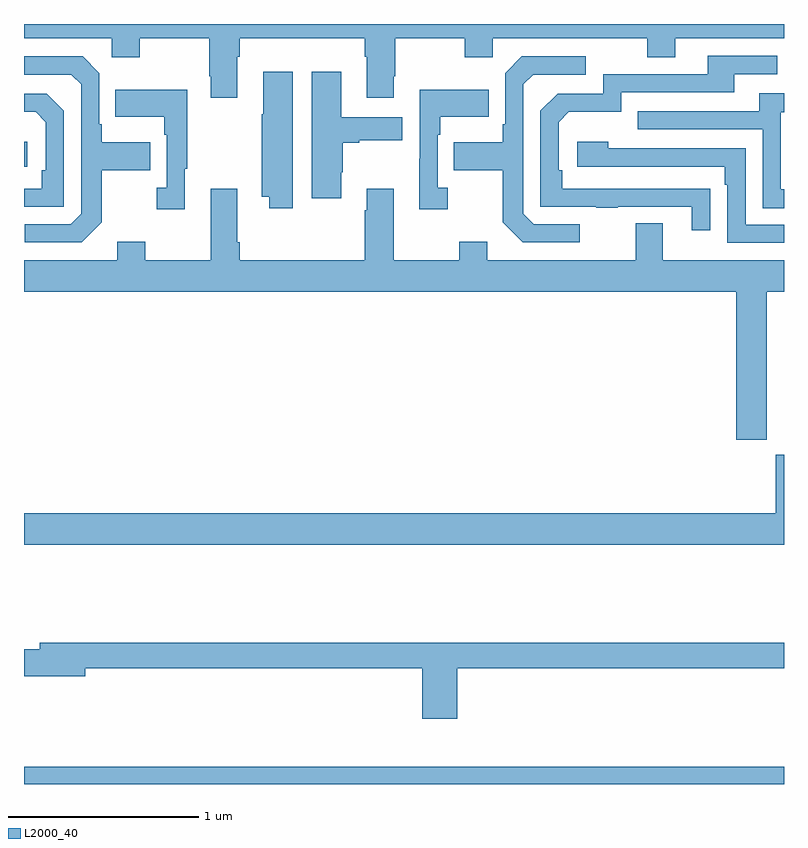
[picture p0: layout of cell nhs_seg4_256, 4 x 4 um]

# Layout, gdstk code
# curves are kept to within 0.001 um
import gdstk
lib = gdstk.Library(unit=1e-6, precision=1e-09)
def R(c, l, rs):  # rectangles x0, y0, x1, y1
    for r in rs: c.add(gdstk.rectangle(r[:2], r[2:], *l))
def P(c, l, *ps):  # polygons
    for p in ps: c.add(gdstk.Polygon(p, *l))
L2000_40 = (2000, 40)

nhs_seg4_256 = lib.new_cell('nhs_seg4_256')
R(nhs_seg4_256, L2000_40, [(123,788.9,127,788.992), (123,792.15,123.016,792.28)])
P(nhs_seg4_256, L2000_40, [(124.123,792.728),(124.136,792.728),(124.136,792.824),(124.793,792.824),(124.793,792.728),(124.805,792.728),(124.805,792.513),(124.945,792.513),(124.945,792.625),(124.953,792.625),(124.953,792.824),(125.32,792.824),(125.32,792.725),(125.466,792.725),(125.466,792.824),(126.28,792.824),(126.28,792.725),(126.427,792.725),(126.427,792.824),(127,792.824),(127,792.9),(123,792.9),(123,792.824),(123.462,792.824),(123.462,792.725),(123.609,792.725),(123.609,792.824),(123.976,792.824),(123.976,792.625),(123.983,792.625),(123.983,792.513),(124.123,792.513)],
  [(126.611,792.032),(125.834,792.033),(125.834,792.13),(125.814,792.13),(125.814,792.384),(125.867,792.437),(126.144,792.437),(126.144,792.54),(126.739,792.54),(126.739,792.636),(126.964,792.636),(126.964,792.732),(126.599,792.732),(126.599,792.636),(126.048,792.636),(126.048,792.534),(125.808,792.534),(125.718,792.444),(125.718,791.937),(126.013,791.937),(126.013,791.932),(126.125,791.932),(126.125,791.937),(126.515,791.937),(126.515,791.814),(126.611,791.814)],
  [(123.409,791.857),(123.409,792.13),(123.665,792.13),(123.665,792.277),(123.409,792.277),(123.409,792.373),(123.396,792.373),(123.396,792.642),(123.309,792.729),(123,792.729),(123,792.633),(123.249,792.633),(123.3,792.582),(123.3,791.901),(123.246,791.847),(123.003,791.847),(123.003,791.751),(123.303,791.751)],
  [(125.926,791.847),(125.682,791.847),(125.628,791.901),(125.628,792.582),(125.679,792.633),(125.956,792.633),(125.956,792.729),(125.619,792.729),(125.532,792.642),(125.532,792.373),(125.52,792.373),(125.52,792.277),(125.263,792.277),(125.263,792.13),(125.52,792.13),(125.52,791.857),(125.625,791.751),(125.926,791.751)],
  [(124.414,792.649),(124.259,792.649),(124.259,792.425),(124.252,792.425),(124.252,791.99),(124.292,791.99),(124.292,791.931),(124.414,791.931)],
  [(124.669,792.121),(124.677,792.121),(124.677,792.275),(124.765,792.275),(124.765,792.287),(124.99,792.287),(124.99,792.409),(124.669,792.409),(124.669,792.649),(124.514,792.649),(124.514,791.982),(124.669,791.982)],
  [(125.23,792.038),(125.178,792.038),(125.178,792.317),(125.191,792.317),(125.191,792.413),(125.447,792.413),(125.447,792.553),(125.082,792.553),(125.082,792.191),(125.081,792.191),(125.081,791.925),(125.23,791.925)],
  [(123.847,792.137),(123.859,792.137),(123.859,792.553),(123.481,792.553),(123.481,792.413),(123.738,792.413),(123.738,792.317),(123.75,792.317),(123.75,792.038),(123.699,792.038),(123.699,791.925),(123.847,791.925)],
  [(127,792.03),(126.984,792.03),(126.984,792.435),(127,792.435),(127,792.535),(126.869,792.535),(126.869,792.441),(126.229,792.441),(126.229,792.345),(126.888,792.345),(126.888,791.929),(127,791.929)],
  [(123.21,792.444),(123.12,792.534),(123,792.534),(123,792.437),(123.061,792.437),(123.114,792.384),(123.114,792.13),(123.094,792.13),(123.094,792.033),(123,792.033),(123,791.937),(123.21,791.937)],
  [(127,791.844),(126.798,791.844),(126.798,792.246),(126.074,792.246),(126.074,792.28),(125.913,792.28),(125.913,792.15),(126.689,792.15),(126.689,792.053),(126.702,792.053),(126.702,791.748),(127,791.748)],
  [(126.909,791.492),(127,791.492),(127,791.656),(126.361,791.656),(126.361,791.851),(126.221,791.851),(126.221,791.656),(125.437,791.656),(125.437,791.755),(125.29,791.755),(125.29,791.656),(124.945,791.656),(124.945,792.034),(124.805,792.034),(124.805,791.921),(124.793,791.921),(124.793,791.656),(124.136,791.656),(124.136,791.752),(124.123,791.752),(124.123,792.034),(123.983,792.034),(123.983,791.656),(123.639,791.656),(123.639,791.755),(123.491,791.755),(123.491,791.656),(123,791.656),(123,791.492),(126.749,791.492),(126.749,790.713),(126.909,790.713)],
  [(127,790.633),(126.956,790.633),(126.956,790.324),(123,790.324),(123,790.16),(127,790.16)],
  [(125.279,789.508),(127,789.508),(127,789.644),(123.083,789.644),(123.083,789.608),(123,789.608),(123,789.466),(123.322,789.466),(123.322,789.508),(125.096,789.508),(125.096,789.243),(125.279,789.243)])

lib.write_gds('nhs_seg4_256.gds')
